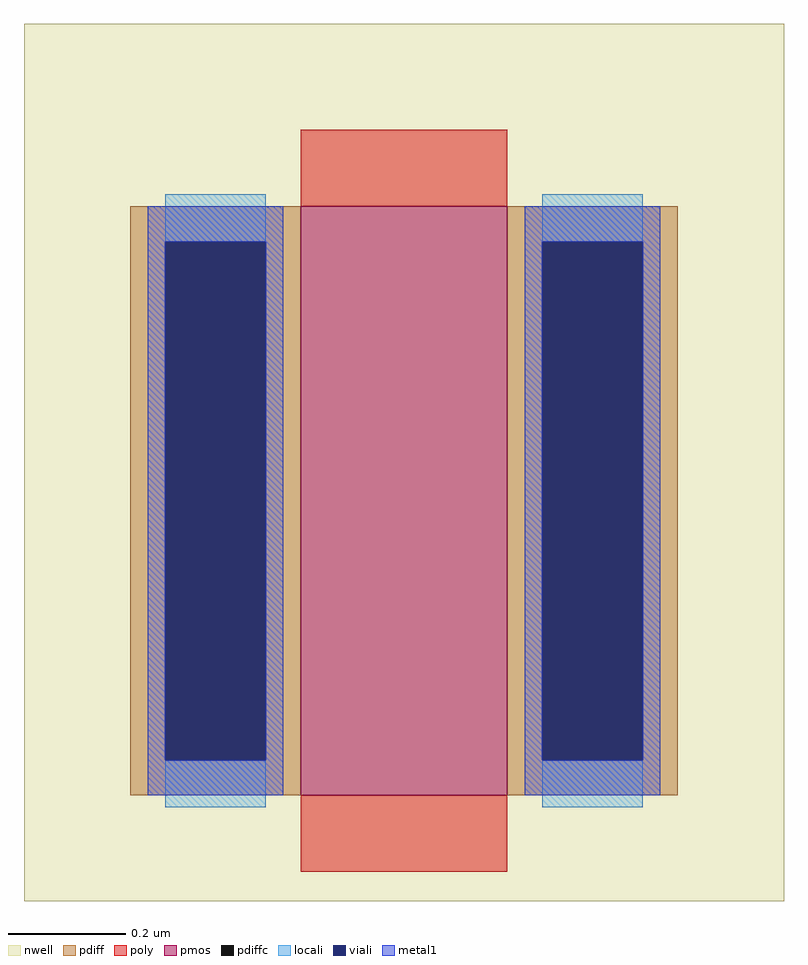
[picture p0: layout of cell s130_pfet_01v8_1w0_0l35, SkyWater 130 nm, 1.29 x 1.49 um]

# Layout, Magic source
magic
tech sky130A
magscale 1 2
<< nwell >>
rect -129 -100 129 198
<< pmos >>
rect -35 -64 35 136
<< pdiff >>
rect -93 124 -35 136
rect -93 -52 -81 124
rect -47 -52 -35 124
rect -93 -64 -35 -52
rect 35 124 93 136
rect 35 -52 47 124
rect 81 -52 93 124
rect 35 -64 93 -52
<< pdiffc >>
rect -81 -52 -47 124
rect 47 -52 81 124
<< poly >>
rect -35 136 35 162
rect -35 -90 35 -64
<< locali >>
rect -81 124 -47 140
rect -81 -68 -47 -52
rect 47 124 81 140
rect 47 -68 81 -52
<< viali >>
rect -81 -52 -47 124
rect 47 -52 81 124
<< metal1 >>
rect -87 124 -41 136
rect -87 -52 -81 124
rect -47 -52 -41 124
rect -87 -64 -41 -52
rect 41 124 87 136
rect 41 -52 47 124
rect 81 -52 87 124
rect 41 -64 87 -52
<< properties >>
string gencell sky130_fd_pr__pfet_01v8
string library sky130
string parameters w 1.0 l 0.35 m 1 nf 1 diffcov 100 polycov 100 guard 0 glc 1 grc 1 gtc 1 gbc 1 tbcov 100 rlcov 100 topc 0 botc 1 poverlap 0 doverlap 0 lmin 0.15 wmin 0.42 class mosfet compatible {sky130_fd_pr__pfet_01v8  sky130_fd_pr__pfet_01v8_lvt sky130_fd_pr__pfet_01v8_hvt  sky130_fd_pr__pfet_g5v0d10v5} full_metal 0 viasrc 100 viadrn 100 viagate 100 viagb 0 viagr 0 viagl 0 viagt 0
<< end >>
